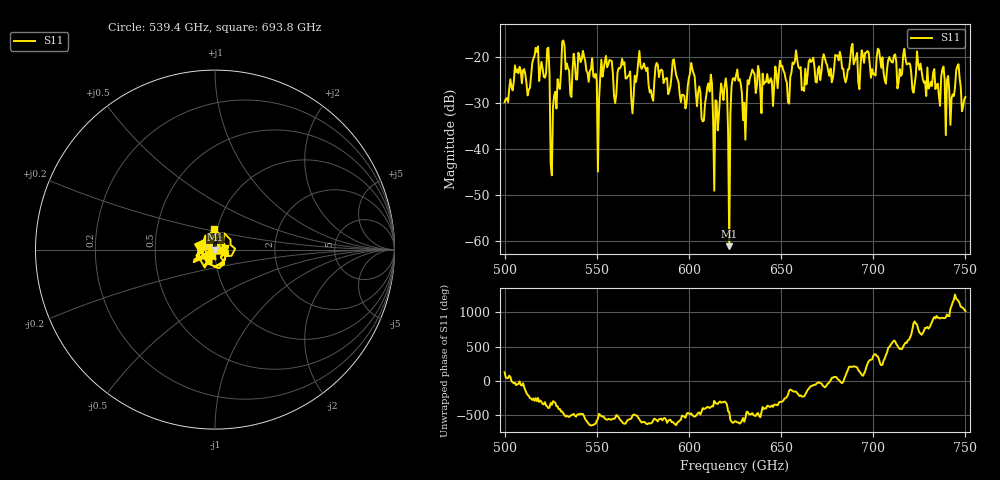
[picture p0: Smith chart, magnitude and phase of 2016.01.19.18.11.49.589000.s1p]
!Created with skrf (http://scikit-rf.org).
# GHz S RI R 50.0
!freq ReS11 ImS11
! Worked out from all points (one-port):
!   401 points, 500 GHz to 750 GHz, reference 50 ohm
!   lowest |S11| = -61.2 dB at 621.9 GHz (marker M1), VSWR 1.00, Z = 50 - j0.0875 ohm
!   |S11| at or under -10 dB: start of sweep to end of sweep
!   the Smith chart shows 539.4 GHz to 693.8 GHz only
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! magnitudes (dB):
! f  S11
! 500 GHz  -29.9
! 506.9 GHz  -22.8
! 513.1 GHz  -27.2
! 516.9 GHz  -18.1
! 523.1 GHz  -18.3
! 526.2 GHz  -30.9
! 531.2 GHz  -16.8
! 542.5 GHz  -18.8
! 550 GHz  -25.4
! 553.8 GHz  -22.7
! 562.5 GHz  -22.6
! 570 GHz  -28.5
! 573.8 GHz  -22.1
! 593.8 GHz  -24.8
! 597.5 GHz  -28.6
! 601.9 GHz  -22.8
! 608.1 GHz  -33.9
! 611.2 GHz  -27.6
! 614.4 GHz  -29.5
! 619.4 GHz  -26.4
! 621.9 GHz  -61.2
! 625 GHz  -25.2
! 630 GHz  -30.0
! 634.4 GHz  -22.8
! 656.2 GHz  -21.3
! 687.5 GHz  -20.5
! 718.8 GHz  -21.6
! 750 GHz  -28.8
